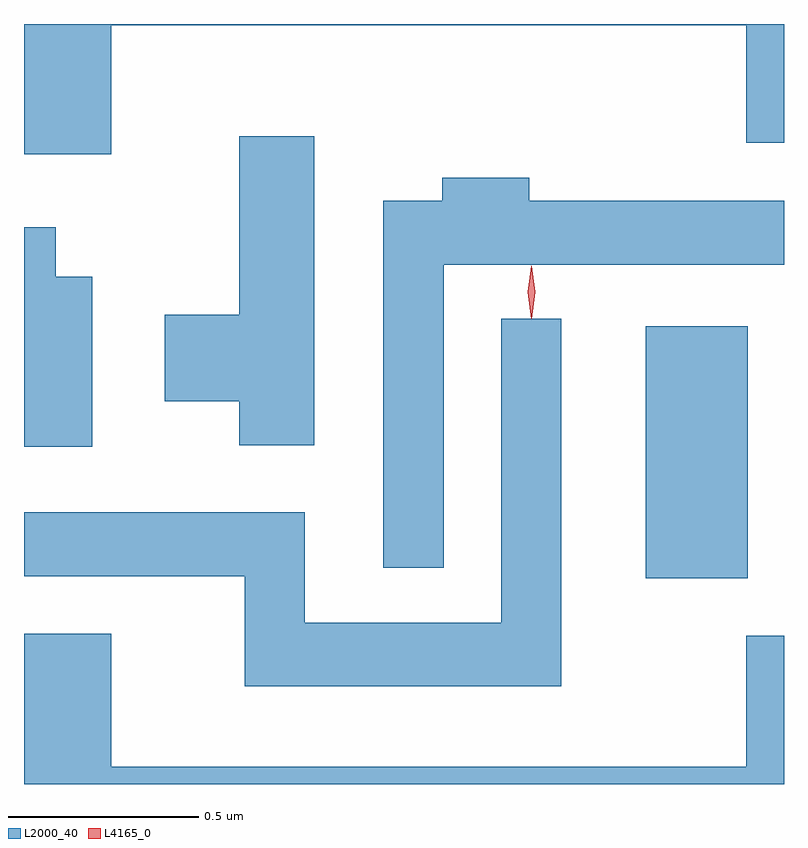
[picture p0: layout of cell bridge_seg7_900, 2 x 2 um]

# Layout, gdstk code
import gdstk
lib = gdstk.Library(unit=1e-6, precision=1e-09)
def R(c, l, rs):  # rectangles x0, y0, x1, y1
    for r in rs: c.add(gdstk.rectangle(r[:2], r[2:], *l))
def P(c, l, *ps):  # polygons
    for p in ps: c.add(gdstk.Polygon(p, *l))
L2000_40 = (2000, 40)
L4165_0 = (4165, 0)

bridge_seg7_900 = lib.new_cell('bridge_seg7_900')
R(bridge_seg7_900, L2000_40, [(319.966,1688.441,320.234,1689.104)])
P(bridge_seg7_900, L2000_40, [(318.559,1689.896),(320.231,1689.896),(320.231,1689.586),(320.33,1689.586),(320.33,1689.899),(318.33,1689.899),(318.33,1689.896),(318.331,1689.896),(318.331,1689.556),(318.559,1689.556)],
  [(319.094,1689.604),(318.896,1689.604),(318.896,1689.134),(318.701,1689.134),(318.701,1688.906),(318.896,1688.906),(318.896,1688.791),(319.094,1688.791)],
  [(319.434,1689.266),(320.33,1689.266),(320.33,1689.434),(319.659,1689.434),(319.659,1689.494),(319.431,1689.494),(319.431,1689.434),(319.276,1689.434),(319.276,1688.468),(319.434,1688.468)],
  [(318.509,1689.234),(318.414,1689.234),(318.414,1689.364),(318.33,1689.364),(318.33,1688.786),(318.509,1688.786)],
  [(319.744,1689.123),(319.586,1689.123),(319.586,1688.324),(319.069,1688.324),(319.069,1688.614),(318.33,1688.614),(318.33,1688.446),(318.911,1688.446),(318.911,1688.156),(319.744,1688.156)],
  [(320.33,1688.289),(320.231,1688.289),(320.231,1687.944),(318.559,1687.944),(318.559,1688.294),(318.331,1688.294),(318.331,1687.944),(318.33,1687.944),(318.33,1687.899),(320.33,1687.899)])
P(bridge_seg7_900, L4165_0, [(319.665,1689.124),(319.665,1689.124),(319.655,1689.193),(319.665,1689.262),(319.665,1689.263),(319.666,1689.262),(319.675,1689.193),(319.666,1689.124)],
  [(319.665,1689.127),(319.665,1689.127),(319.655,1689.194),(319.665,1689.26),(319.665,1689.261),(319.666,1689.26),(319.675,1689.194),(319.666,1689.127)])

lib.write_gds('bridge_seg7_900.gds')
